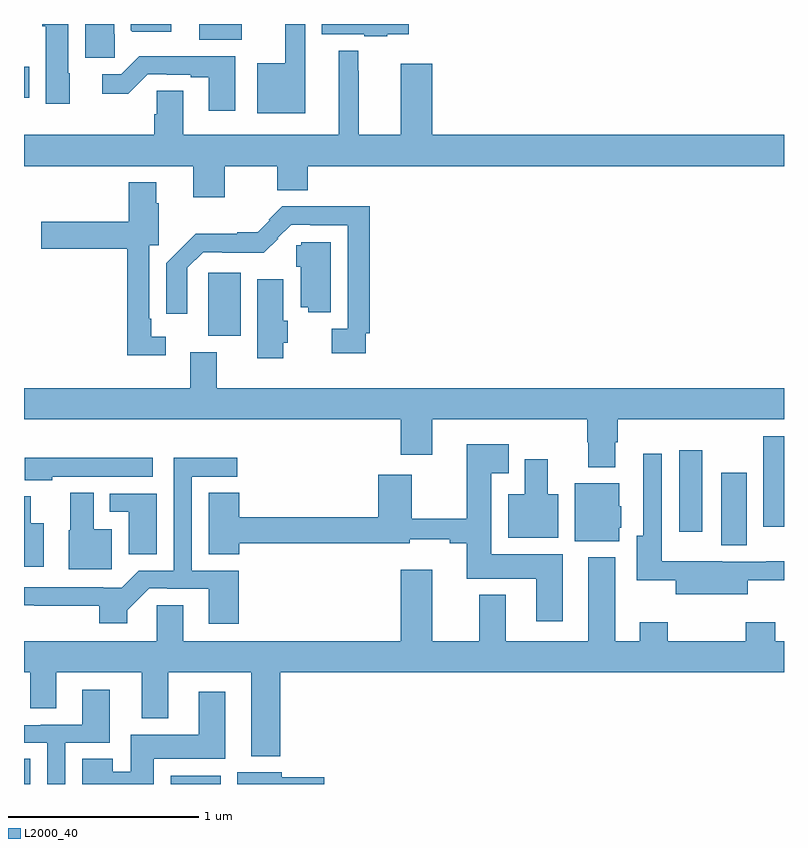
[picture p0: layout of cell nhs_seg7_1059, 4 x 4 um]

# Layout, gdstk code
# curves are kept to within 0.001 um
import gdstk
lib = gdstk.Library(unit=1e-6, precision=1e-09)
def R(c, l, rs):  # rectangles x0, y0, x1, y1
    for r in rs: c.add(gdstk.rectangle(r[:2], r[2:], *l))
def P(c, l, *ps):  # polygons
    for p in ps: c.add(gdstk.Polygon(p, *l))
L2000_40 = (2000, 40)

nhs_seg7_1059 = lib.new_cell('nhs_seg7_1059')
R(nhs_seg7_1059, L2000_40, [(187,1028,187.033,1028.132), (187.772,1028,188.035,1028.044), (190.67,1029.257,190.804,1029.637), (190.448,1029.327,190.57,1029.757), (190.892,1029.353,191,1029.829), (187.97,1030.358,188.14,1030.692), (187,1031.613,187.027,1031.774), (187.922,1031.918,188.146,1032)])
P(nhs_seg7_1059, L2000_40, [(188.479,1032),(188.375,1032),(188.375,1031.794),(188.228,1031.794),(188.228,1031.531),(188.479,1031.531)],
  [(187.24,1031.742),(187.234,1031.742),(187.234,1032),(187.097,1032),(187.097,1031.988),(187.115,1031.988),(187.115,1031.58),(187.24,1031.58)],
  [(187.478,1031.946),(187.474,1031.946),(187.474,1032),(187.322,1032),(187.322,1031.823),(187.478,1031.823)],
  [(187.774,1032),(187.562,1032),(187.562,1031.968),(187.57,1031.96),(187.774,1031.96)],
  [(188.912,1031.945),(189.025,1031.945),(189.025,1032),(188.567,1032),(188.567,1031.945),(188.79,1031.945),(188.79,1031.935),(188.912,1031.935)],
  [(188.056,1031.252),(188.333,1031.252),(188.333,1031.126),(188.494,1031.126),(188.494,1031.252),(191,1031.252),(191,1031.416),(189.148,1031.416),(189.148,1031.791),(188.984,1031.791),(188.984,1031.416),(188.761,1031.416),(188.761,1031.753),(188.76,1031.753),(188.76,1031.86),(188.657,1031.86),(188.657,1031.416),(187.837,1031.416),(187.837,1031.648),(187.698,1031.648),(187.698,1031.526),(187.685,1031.526),(187.685,1031.416),(187,1031.416),(187,1031.252),(187.892,1031.252),(187.892,1031.088),(188.056,1031.088)],
  [(188.113,1031.831),(187.607,1031.831),(187.512,1031.736),(187.413,1031.736),(187.413,1031.634),(187.548,1031.634),(187.65,1031.736),(187.75,1031.736),(187.75,1031.733),(187.877,1031.733),(187.877,1031.721),(187.973,1031.721),(187.973,1031.544),(188.113,1031.544)],
  [(187.747,1030.353),(187.671,1030.353),(187.671,1030.45),(187.659,1030.45),(187.659,1030.836),(187.709,1030.836),(187.709,1031.057),(187.696,1031.057),(187.696,1031.167),(187.55,1031.167),(187.55,1030.959),(187.092,1030.959),(187.092,1030.817),(187.543,1030.817),(187.543,1030.256),(187.747,1030.256)],
  [(188.799,1030.372),(188.819,1030.372),(188.819,1031.041),(188.359,1031.041),(188.289,1030.971),(188.293,1030.967),(188.231,1030.905),(188.123,1030.905),(188.123,1030.897),(187.903,1030.897),(187.748,1030.74),(187.748,1030.476),(187.86,1030.476),(187.86,1030.716),(187.944,1030.8),(188.044,1030.8),(188.044,1030.796),(188.263,1030.796),(188.337,1030.869),(188.334,1030.872),(188.406,1030.944),(188.506,1030.944),(188.506,1030.94),(188.703,1030.94),(188.703,1030.396),(188.619,1030.396),(188.619,1030.268),(188.799,1030.268)],
  [(188.614,1030.851),(188.46,1030.851),(188.46,1030.836),(188.433,1030.836),(188.433,1030.722),(188.456,1030.722),(188.456,1030.508),(188.496,1030.508),(188.496,1030.484),(188.614,1030.484)],
  [(188.365,1030.323),(188.389,1030.323),(188.389,1030.437),(188.365,1030.437),(188.365,1030.657),(188.228,1030.657),(188.228,1030.242),(188.365,1030.242)],
  [(190.111,1029.8),(190.124,1029.8),(190.124,1029.92),(191,1029.92),(191,1030.084),(188.014,1030.084),(188.014,1030.273),(187.874,1030.273),(187.874,1030.084),(187,1030.084),(187,1029.92),(188.984,1029.92),(188.984,1029.732),(189.148,1029.732),(189.148,1029.92),(189.964,1029.92),(189.964,1029.8),(189.971,1029.8),(189.971,1029.668),(190.111,1029.668)],
  [(189.835,1029.208),(189.46,1029.208),(189.46,1029.635),(189.55,1029.635),(189.55,1029.787),(189.331,1029.787),(189.331,1029.397),(189.042,1029.397),(189.042,1029.628),(188.864,1029.628),(188.864,1029.404),(188.134,1029.404),(188.134,1029.533),(187.973,1029.533),(187.973,1029.208),(188.134,1029.208),(188.134,1029.268),(189.03,1029.268),(189.03,1029.287),(189.242,1029.287),(189.242,1029.268),(189.331,1029.268),(189.331,1029.08),(189.695,1029.08),(189.695,1028.856),(189.835,1028.856)],
  [(190.81,1029.073),(191,1029.073),(191,1029.173),(190.906,1029.173),(190.906,1029.171),(190.674,1029.171),(190.674,1029.172),(190.356,1029.172),(190.356,1029.739),(190.26,1029.739),(190.26,1029.307),(190.226,1029.307),(190.226,1029.073),(190.43,1029.073),(190.43,1028.999),(190.81,1028.999)],
  [(187.149,1029.617),(187.678,1029.617),(187.678,1029.718),(187.005,1029.718),(187.005,1029.599),(187.149,1029.599)],
  [(188.129,1029.123),(187.884,1029.123),(187.884,1029.618),(188.122,1029.618),(188.122,1029.716),(187.788,1029.716),(187.788,1029.123),(187.604,1029.123),(187.514,1029.033),(187.418,1029.033),(187.418,1029.036),(187,1029.036),(187,1028.94),(187.396,1028.939),(187.396,1028.846),(187.543,1028.846),(187.543,1028.914),(187.659,1029.03),(187.753,1029.03),(187.753,1029.027),(187.973,1029.027),(187.973,1028.844),(188.129,1028.844)],
  [(189.811,1029.526),(189.757,1029.526),(189.757,1029.709),(189.635,1029.709),(189.635,1029.526),(189.548,1029.526),(189.548,1029.296),(189.811,1029.296)],
  [(190.132,1029.348),(190.144,1029.348),(190.144,1029.462),(190.132,1029.462),(190.132,1029.583),(189.899,1029.583),(189.899,1029.278),(190.132,1029.278)],
  [(187.462,1029.34),(187.366,1029.34),(187.366,1029.532),(187.244,1029.532),(187.244,1029.336),(187.235,1029.336),(187.235,1029.131),(187.462,1029.131)],
  [(187.699,1029.528),(187.452,1029.528),(187.452,1029.432),(187.55,1029.432),(187.55,1029.208),(187.699,1029.208)],
  [(187.105,1029.373),(187.036,1029.373),(187.036,1029.514),(187,1029.514),(187,1029.143),(187.105,1029.143)],
  [(188.348,1028.588),(191,1028.588),(191,1028.752),(190.953,1028.752),(190.953,1028.851),(190.798,1028.851),(190.798,1028.752),(190.389,1028.752),(190.389,1028.851),(190.241,1028.851),(190.241,1028.752),(190.111,1028.752),(190.111,1029.193),(189.971,1029.193),(189.971,1028.752),(189.535,1028.752),(189.535,1028.995),(189.395,1028.995),(189.395,1028.752),(189.148,1028.752),(189.148,1029.127),(188.984,1029.127),(188.984,1028.752),(187.837,1028.752),(187.837,1028.942),(187.698,1028.942),(187.698,1028.752),(187,1028.752),(187,1028.588),(187.032,1028.588),(187.032,1028.398),(187.171,1028.398),(187.171,1028.588),(187.619,1028.588),(187.619,1028.345),(187.759,1028.345),(187.759,1028.588),(188.195,1028.588),(188.195,1028.147),(188.348,1028.147)],
  [(187.218,1028.217),(187.45,1028.217),(187.45,1028.497),(187.307,1028.497),(187.307,1028.313),(187.087,1028.313),(187.087,1028.31),(187,1028.31),(187,1028.217),(187.122,1028.217),(187.122,1028),(187.218,1028)],
  [(187.684,1028.132),(188.059,1028.132),(188.059,1028.485),(187.919,1028.485),(187.919,1028.26),(187.562,1028.26),(187.562,1028.065),(187.468,1028.065),(187.468,1028.132),(187.307,1028.132),(187.307,1028),(187.684,1028)],
  [(188.581,1028.036),(188.356,1028.036),(188.356,1028.062),(188.123,1028.062),(188.123,1028),(188.581,1028)])

lib.write_gds('nhs_seg7_1059.gds')
